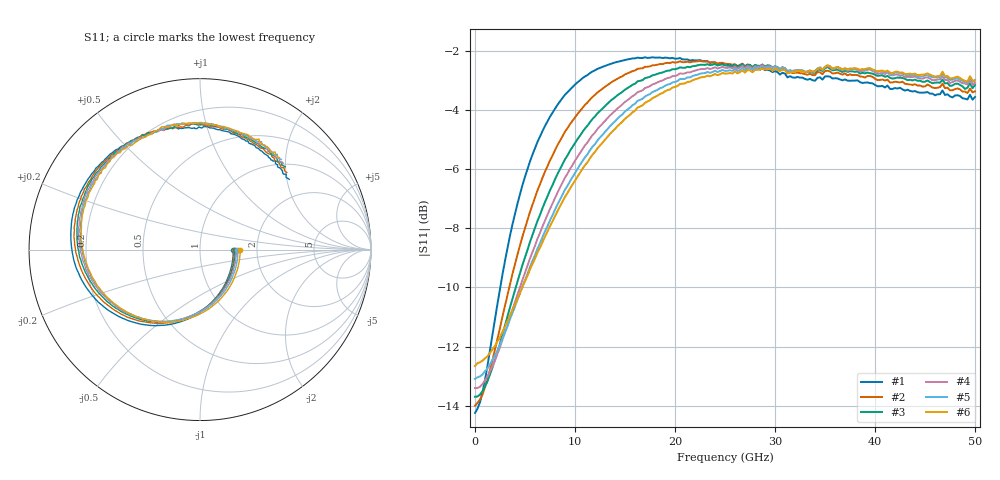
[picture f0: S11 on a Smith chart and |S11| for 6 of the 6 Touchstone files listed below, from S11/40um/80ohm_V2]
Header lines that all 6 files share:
!Agilent Technologies,N5227A,US51270434,A.10.00.00
!Agilent N5227A: A.10.00.00
!Correction: S11(Full 1 Port(1))
!S1P File: Measurement: S11:
# Hz S  dB  R 50
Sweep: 10 MHz to 50 GHz
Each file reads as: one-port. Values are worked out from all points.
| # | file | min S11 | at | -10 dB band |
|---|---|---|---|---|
| 1 | S11_-1V.s1p | -14.2 dB | 10 MHz | over 2.526 GHz wide |
| 2 | S11_-3V.s1p | -14.0 dB | 10 MHz | over 3.418 GHz wide |
| 3 | S11_-4V.s1p | -13.7 dB | 10 MHz | over 4.073 GHz wide |
| 4 | S11_-5V.s1p | -13.4 dB | 10 MHz | over 4.495 GHz wide |
| 5 | S11_-6V.s1p | -13.1 dB | 10 MHz | over 4.707 GHz wide |
| 6 | S11_-7V.s1p | -12.7 dB | 10 MHz | over 4.723 GHz wide |
